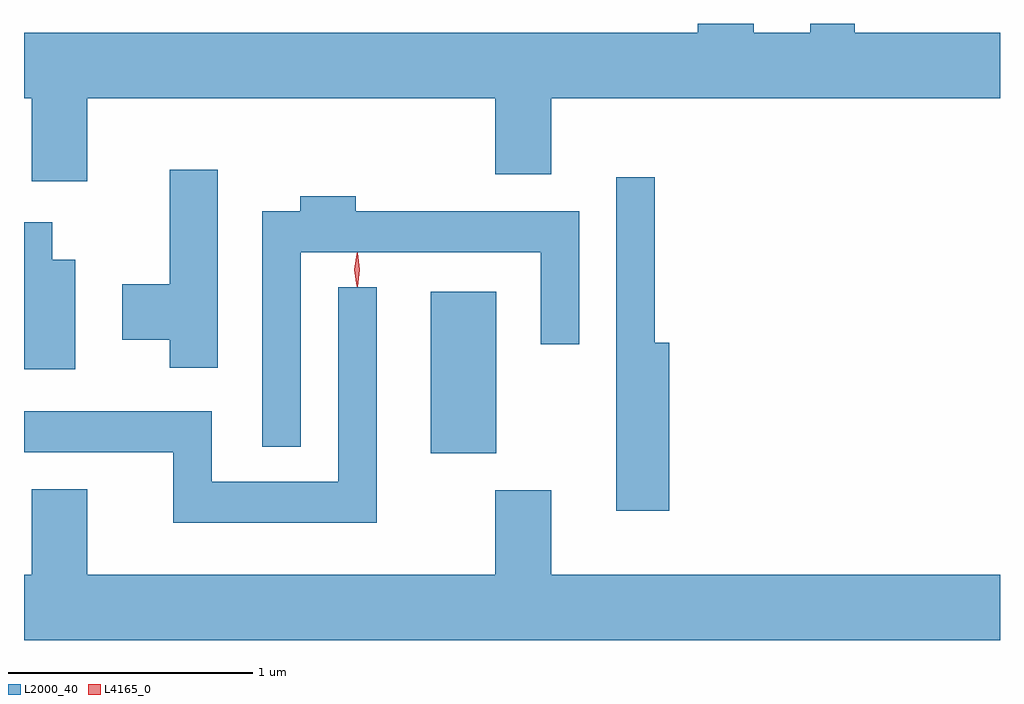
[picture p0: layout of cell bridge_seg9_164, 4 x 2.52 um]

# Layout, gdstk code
import gdstk
lib = gdstk.Library(unit=1e-6, precision=1e-09)
def R(c, l, rs):  # rectangles x0, y0, x1, y1
    for r in rs: c.add(gdstk.rectangle(r[:2], r[2:], *l))
def P(c, l, *ps):  # polygons
    for p in ps: c.add(gdstk.Polygon(p, *l))
L2000_40 = (2000, 40)
L4165_0 = (4165, 0)

bridge_seg9_164 = lib.new_cell('bridge_seg9_164')
R(bridge_seg9_164, L2000_40, [(1437.366,2048.081,1437.634,2048.744)])
P(bridge_seg9_164, L2000_40, [(1435.959,2049.536),(1437.631,2049.536),(1437.631,2049.226),(1437.859,2049.226),(1437.859,2049.536),(1439.699,2049.536),(1439.699,2049.804),(1439.104,2049.804),(1439.104,2049.841),(1438.921,2049.841),(1438.921,2049.804),(1438.689,2049.804),(1438.689,2049.841),(1438.461,2049.841),(1438.461,2049.804),(1435.699,2049.804),(1435.699,2049.536),(1435.731,2049.536),(1435.731,2049.196),(1435.959,2049.196)],
  [(1436.494,2049.244),(1436.296,2049.244),(1436.296,2048.774),(1436.101,2048.774),(1436.101,2048.546),(1436.296,2048.546),(1436.296,2048.431),(1436.494,2048.431)],
  [(1438.344,2048.534),(1438.284,2048.534),(1438.284,2049.213),(1438.126,2049.213),(1438.126,2047.846),(1438.344,2047.846)],
  [(1436.834,2048.906),(1437.816,2048.906),(1437.816,2048.528),(1437.974,2048.528),(1437.974,2049.074),(1437.059,2049.074),(1437.059,2049.134),(1436.831,2049.134),(1436.831,2049.074),(1436.676,2049.074),(1436.676,2048.108),(1436.834,2048.108)],
  [(1435.909,2048.874),(1435.814,2048.874),(1435.814,2049.029),(1435.699,2049.029),(1435.699,2048.426),(1435.909,2048.426)],
  [(1437.144,2048.762),(1436.986,2048.762),(1436.986,2047.964),(1436.469,2047.964),(1436.469,2048.254),(1435.699,2048.254),(1435.699,2048.086),(1436.311,2048.086),(1436.311,2047.796),(1437.144,2047.796)],
  [(1439.699,2047.584),(1437.859,2047.584),(1437.859,2047.929),(1437.631,2047.929),(1437.631,2047.584),(1435.959,2047.584),(1435.959,2047.934),(1435.731,2047.934),(1435.731,2047.584),(1435.699,2047.584),(1435.699,2047.316),(1439.699,2047.316)])
P(bridge_seg9_164, L4165_0, [(1437.065,2048.764),(1437.065,2048.764),(1437.055,2048.834),(1437.065,2048.903),(1437.065,2048.903),(1437.066,2048.903),(1437.075,2048.834),(1437.066,2048.764)],
  [(1437.062,2048.767),(1437.053,2048.834),(1437.062,2048.9),(1437.063,2048.901),(1437.063,2048.9),(1437.073,2048.834),(1437.063,2048.767),(1437.063,2048.767)])

lib.write_gds('bridge_seg9_164.gds')
